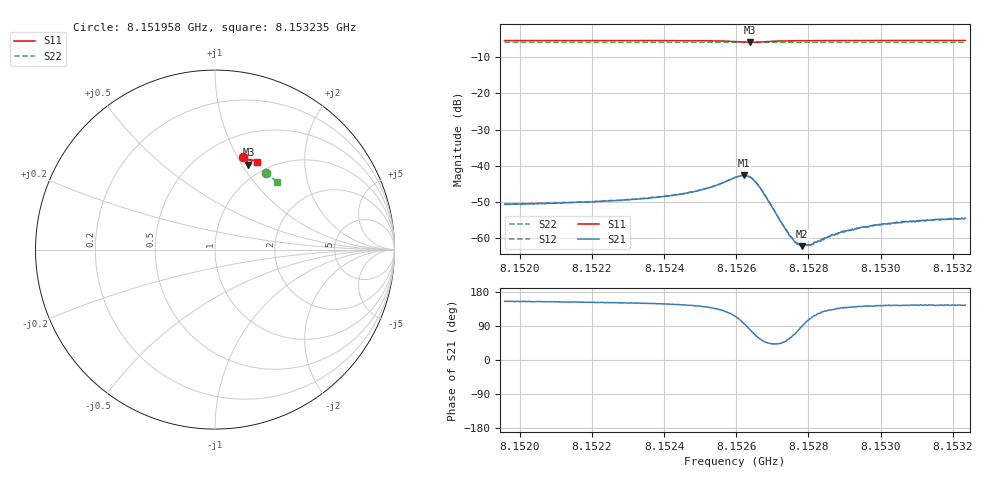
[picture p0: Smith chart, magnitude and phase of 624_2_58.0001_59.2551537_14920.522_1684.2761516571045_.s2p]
#  HZ  S  RI  R  50.00
! Rohde & Schwarz Vector Network Analyzer
! Rohde-Schwarz,ZNB20-2Port,1311601062101988,3.16
! Created: UTC 3/21/2024, 1:18:15 AM
! freq[Hz]  re:S11  im:S11  re:S21  im:S21  re:S12  im:S12  re:S22  im:S22
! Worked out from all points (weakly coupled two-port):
!   401 points, 8.151958 GHz to 8.153235 GHz, reference 50 ohm
!   highest |S21| = -42.70 dB at 8.152622 GHz (marker M1); lowest = -62.3 dB at 8.152782 GHz (marker M2)
!   lowest |S11| = -5.9 dB at 8.152638 GHz (marker M3), VSWR 3.08, Z = 41.8 + j53.5 ohm
!   |S11| at or under -10 dB: nowhere
!   |S22| runs from -5.9 to -5.8 dB; largest |S21 - S12| = 0.00013
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8.1519582e9  0.1545 0.5178  -0.00264 0.00125  -0.00265 0.0013  0.2841 0.426
8.152172e9  0.1698 0.5131  -0.00279 0.00143  -0.00279 0.0015  0.2953 0.418
8.1522869e9  0.1783 0.5103  -0.00293 0.00164  -0.00292 0.00168  0.3012 0.4137
8.1523859e9  0.1863 0.507  -0.00314 0.00191  -0.00316 0.00197  0.3062 0.4097
8.1524976e9  0.1966 0.5011  -0.00358 0.00279  -0.00361 0.00287  0.3118 0.4052
8.1525423e9  0.2014 0.4959  -0.00379 0.00371  -0.00375 0.00377  0.314 0.4032
8.1525965e9  0.2035 0.482  -0.00296 0.00617  -0.00291 0.00623  0.3165 0.4005
8.1526221e9  0.1954 0.4739  -0.000729 0.00729  -0.00067 0.00736  0.3172 0.3994
8.152638e9  0.1865 0.4738  0.00124 0.00682  0.00131 0.00688  0.3174 0.3989
8.1526508e9  0.1807 0.478  0.00237 0.00568  0.00247 0.00573  0.3181 0.3987
8.1526667e9  0.1779 0.4854  0.00283 0.00398  0.00287 0.00399  0.319 0.3984
8.1527306e9  0.188 0.4997  0.00103 0.00109  0.00102 0.00105  0.3224 0.3961
8.1527497e9  0.1913 0.5005  0.000549 0.000905  0.000609 0.00088  0.3236 0.3955
8.1527689e9  0.194 0.5009  0.000225 0.000819  0.000214 0.000787  0.3244 0.3945
8.1527816e9  0.1958 0.501  1.6e-05 0.000769  1.63e-05 0.000775  0.3251 0.3941
8.152788e9  0.1966 0.5009  -6.89e-05 0.000786  -5.69e-05 0.000781  0.3255 0.3938
8.1528104e9  0.1994 0.5006  -0.000325 0.000764  -0.000312 0.000781  0.3265 0.3929
8.1528901e9  0.2071 0.499  -0.0009 0.00081  -0.000845 0.0008  0.3304 0.3897
8.1529476e9  0.212 0.4977  -0.0011 0.000875  -0.00112 0.00087  0.3333 0.3871
8.1530242e9  0.2178 0.4955  -0.00128 0.000896  -0.00127 0.000977  0.3368 0.3839
8.1530657e9  0.2209 0.4943  -0.00134 0.000976  -0.00136 0.000974  0.3389 0.382
8.1532348e9  0.2325 0.4894  -0.00153 0.00108  -0.0015 0.00111  0.3467 0.3747
